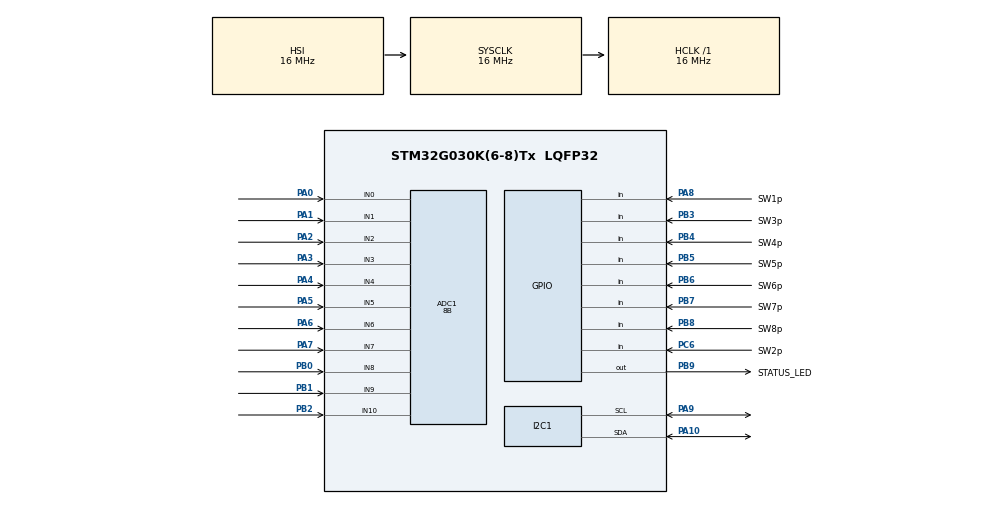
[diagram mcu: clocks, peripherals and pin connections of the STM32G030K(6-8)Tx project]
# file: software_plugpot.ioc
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ADC1.Channel-0\#ChannelRegularConversion=ADC_CHANNEL_0
ADC1.Channel-1\#ChannelRegularConversion=ADC_CHANNEL_1
ADC1.Channel-2\#ChannelRegularConversion=ADC_CHANNEL_2
ADC1.Channel-3\#ChannelRegularConversion=ADC_CHANNEL_3
ADC1.Channel-4\#ChannelRegularConversion=ADC_CHANNEL_4
ADC1.Channel-5\#ChannelRegularConversion=ADC_CHANNEL_5
ADC1.Channel-6\#ChannelRegularConversion=ADC_CHANNEL_6
ADC1.Channel-7\#ChannelRegularConversion=ADC_CHANNEL_7
ADC1.ClockPrescaler=ADC_CLOCK_ASYNC_DIV2
ADC1.ContinuousConvMode=ENABLE
ADC1.DMAContinuousRequests=ENABLE
ADC1.DiscontinuousConvMode=DISABLE
ADC1.NbrOfConversion=8
ADC1.NbrOfConversionFlag=1
ADC1.Rank-0\#ChannelRegularConversion=1
ADC1.Rank-1\#ChannelRegularConversion=2
ADC1.Rank-2\#ChannelRegularConversion=3
ADC1.Rank-3\#ChannelRegularConversion=4
ADC1.Rank-4\#ChannelRegularConversion=5
ADC1.Rank-5\#ChannelRegularConversion=6
ADC1.Rank-6\#ChannelRegularConversion=7
ADC1.Rank-7\#ChannelRegularConversion=8
ADC1.Resolution=ADC_RESOLUTION_8B
ADC1.SamplingTime-0\#ChannelRegularConversion=ADC_SAMPLINGTIME_COMMON_1
ADC1.SamplingTime-1\#ChannelRegularConversion=ADC_SAMPLINGTIME_COMMON_1
ADC1.SamplingTime-2\#ChannelRegularConversion=ADC_SAMPLINGTIME_COMMON_1
ADC1.SamplingTime-3\#ChannelRegularConversion=ADC_SAMPLINGTIME_COMMON_1
ADC1.SamplingTime-4\#ChannelRegularConversion=ADC_SAMPLINGTIME_COMMON_1
ADC1.SamplingTime-5\#ChannelRegularConversion=ADC_SAMPLINGTIME_COMMON_1
ADC1.SamplingTime-6\#ChannelRegularConversion=ADC_SAMPLINGTIME_COMMON_1
ADC1.SamplingTime-7\#ChannelRegularConversion=ADC_SAMPLINGTIME_COMMON_1
ADC1.SamplingTimeCommon1=ADC_SAMPLETIME_39CYCLES_5
ADC1.SelectedChannel=ADC_CHANNEL_0|ADC_CHANNEL_1|ADC_CHANNEL_2|ADC_CHANNEL_3|ADC_CHANNEL_4|ADC_CHANNEL_5|ADC_CHANNEL_6|ADC_CHANNEL_7|ADC_CHANNEL_8|ADC_CHANNEL_9|ADC_CHANNEL_10
ADC1.Sequencer=FULLY_CONFIGURABLE
ADC1.master=1
Dma.ADC1.0.Direction=DMA_PERIPH_TO_MEMORY
Dma.ADC1.0.EventEnable=DISABLE
Dma.ADC1.0.Instance=DMA1_Channel1
Dma.ADC1.0.MemDataAlignment=DMA_MDATAALIGN_BYTE
Dma.ADC1.0.MemInc=DMA_MINC_ENABLE
Dma.ADC1.0.Mode=DMA_CIRCULAR
Dma.ADC1.0.PeriphDataAlignment=DMA_PDATAALIGN_BYTE
Dma.ADC1.0.PeriphInc=DMA_PINC_DISABLE
Dma.ADC1.0.Polarity=HAL_DMAMUX_REQ_GEN_RISING
Dma.ADC1.0.Priority=DMA_PRIORITY_LOW
Dma.ADC1.0.RequestNumber=1
Dma.ADC1.0.SignalID=NONE
Dma.ADC1.0.SyncEnable=DISABLE
Dma.ADC1.0.SyncPolarity=HAL_DMAMUX_SYNC_NO_EVENT
Dma.ADC1.0.SyncRequestNumber=1
Dma.ADC1.0.SyncSignalID=NONE
Dma.Request0=ADC1
I2C1.NoStretchMode=I2C_NOSTRETCH_DISABLE
I2C1.OwnAddress=0x13
Mcu.Family=STM32G0
Mcu.Name=STM32G030K(6-8)Tx
Mcu.Package=LQFP32
NVIC.DMA1_Channel1_IRQn=true\:0\:0\:false\:false\:true\:false\:true\:true
PA0.Mode=IN0
PA0.Signal=ADC1_IN0
PA1.Mode=IN1
PA1.Signal=ADC1_IN1
PA10.Mode=I2C
PA10.Signal=I2C1_SDA
PA12\ [PA10].Signal=ADC1_IN16
PA13.Mode=Serial_Wire
PA13.Signal=SYS_SWDIO
PA14-BOOT0.Mode=Serial_Wire
PA14-BOOT0.Signal=SYS_SWCLK
PA2.Mode=IN2
PA2.Signal=ADC1_IN2
PA3.Mode=IN3
PA3.Signal=ADC1_IN3
PA4.Mode=IN4
PA4.Signal=ADC1_IN4
PA5.Mode=IN5
PA5.Signal=ADC1_IN5
PA6.Mode=IN6
PA6.Signal=ADC1_IN6
PA7.Mode=IN7
PA7.Signal=ADC1_IN7
PA8.GPIO_Label=SW1p
PA8.Signal=GPIO_Input
PA9.Mode=I2C
PA9.Signal=I2C1_SCL
PB0.Mode=IN8
PB0.Signal=ADC1_IN8
PB1.Mode=IN9
PB1.Signal=ADC1_IN9
PB2.Mode=IN10
PB2.Signal=ADC1_IN10
PB3.GPIO_Label=SW3p
PB3.Signal=GPIO_Input
PB4.GPIO_Label=SW4p
PB4.Signal=GPIO_Input
PB5.GPIO_Label=SW5p
PB5.Signal=GPIO_Input
PB6.GPIO_Label=SW6p
PB6.Signal=GPIO_Input
PB7.GPIO_Label=SW7p
PB7.Signal=GPIO_Input
PB8.GPIO_Label=SW8p
PB8.Signal=GPIO_Input
PB9.GPIO_Label=STATUS_LED
PB9.Signal=GPIO_Output
PC6.GPIO_Label=SW2p
PC6.Signal=GPIO_Input
ProjectManager.HeapSize=0x200
ProjectManager.StackSize=0x400
ProjectManager.TargetToolchain=EWARM V8.50
RCC.AHBFreq_Value=16000000
RCC.CortexFreq_Value=16000000
RCC.EXTERNAL_CLOCK_VALUE=12288000
RCC.HCLKFreq_Value=16000000
RCC.HSE_VALUE=8000000
RCC.HSI_VALUE=16000000
RCC.LSE_VALUE=32768
RCC.SYSCLKFreq_VALUE=16000000
RCC.VCOOutputFreq_Value=128000000
board=custom

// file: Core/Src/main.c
/* USER CODE BEGIN Header */
/**
  ******************************************************************************
  * @file           : main.c
  * @brief          : Main program body
  ******************************************************************************
  * @attention
  *
  * Copyright (c) 2023 STMicroelectronics.
  * All rights reserved.
  *
  * This software is licensed under terms that can be found in the LICENSE file
  * in the root directory of this software component.
  * If no LICENSE file comes with this software, it is provided AS-IS.
  *
  ******************************************************************************
  */
/* USER CODE END Header */
#include "main.h"

/* USER CODE BEGIN Includes */
#include "digitalsynth_plug_i2c.h"
#include <stdbool.h>
/* USER CODE END Includes */

/* USER CODE BEGIN PD */

//I2C defines
#define TXSIZE 13
#define RXSIZE  3
#define TOGGLEDELAY     1000    //1s -   num/ms/s
#define TOGGLEDELAY2     10      //10ms -   num/ms/s

#define ADC_BUF_LEN 2*8

/* USER CODE END PD */

ADC_HandleTypeDef hadc1;
DMA_HandleTypeDef hdma_adc1;

I2C_HandleTypeDef hi2c1;

/* USER CODE BEGIN PV */

//I2C global variables
uint8_t TxData[TXSIZE] = {1, 0, 1, 0, 1, 0, 1, 0, 1, 0, 1, 0, 1};
uint8_t txcount = 0;
uI2CPlugPotControls sCont;
uint32_t u32LastToggleTick = 0;
HAL_StatusTypeDef status;

//adc
uint8_t arru8adc_buf[ADC_BUF_LEN];
uint8_t * pu8adc_bufcurr;

//SW
uint32_t u32SWReadTick;
GPIO_TypeDef* arrSWGPIOPort[8] =
{SW1p_GPIO_Port, SW2p_GPIO_Port, SW3p_GPIO_Port, SW4p_GPIO_Port, SW5p_GPIO_Port, SW6p_GPIO_Port, SW7p_GPIO_Port, SW8p_GPIO_Port};
uint16_t arrSWPin[8] =
{SW1p_Pin, SW2p_Pin, SW3p_Pin, SW4p_Pin, SW5p_Pin, SW6p_Pin, SW7p_Pin, SW8p_Pin};

/* USER CODE END PV */

void SystemClock_Config(void);
static void MX_GPIO_Init(void);
static void MX_DMA_Init(void);
static void MX_ADC1_Init(void);
static void MX_I2C1_Init(void);
/* USER CODE BEGIN PFP */
void i2c_reset();
/* USER CODE END PFP */

int main(void)
{

  /* MCU Configuration--------------------------------------------------------*/

  /* Reset of all peripherals, Initializes the Flash interface and the Systick. */
  HAL_Init();

  /* Configure the system clock */
  SystemClock_Config();

  /* Initialize all configured peripherals */
  MX_GPIO_Init();
  MX_DMA_Init();
  MX_ADC1_Init();
  MX_I2C1_Init();

  /* Infinite loop */
  /* USER CODE BEGIN WHILE */

  //JUST FOR TESTING
  for(int i = 0; i < 13; i++){
    sCont.au8I2CPlugPotByteAccess[i] = TxData[i];
  }

  //adc
  HAL_ADC_Start_DMA(&hadc1, (uint32_t*)arru8adc_buf, ADC_BUF_LEN);

  //HAL_TIM_Base_Start_IT(&htim14);
  u32LastToggleTick = HAL_GetTick();
  u32SWReadTick = HAL_GetTick();
  uint8_t u8ErrorFlag = 0;
  uint32_t u32ErrorTick = 0;
  while (1)
  {
    /* USER CODE END WHILE */

    /* USER CODE BEGIN 3 */

    //I2C communication
    status = HAL_I2C_Slave_Transmit(&hi2c1, sCont.au8I2CPlugPotByteAccess, TXSIZE,30);

    //if the line is busy, reset
    if( (status != HAL_OK) & (u8ErrorFlag==0) ){
      u8ErrorFlag = 1;
      u32ErrorTick = HAL_GetTick();
    }
    if( ( status != HAL_OK ) & ( HAL_GetTick() > (u32ErrorTick+250) ) & (u8ErrorFlag==1) ){
      i2c_reset(&hi2c1);
      u8ErrorFlag = 0;

    }

    //toggle status led
    while ((HAL_GetTick() - u32LastToggleTick) > TOGGLEDELAY){
      HAL_GPIO_TogglePin(GPIOB, GPIO_PIN_9);
      u32LastToggleTick = HAL_GetTick();
    }

    sCont.sI2CPlugPotControl.u1SW1 = (HAL_GPIO_ReadPin(arrSWGPIOPort[0], arrSWPin[0]) == GPIO_PIN_SET);

    //SW read
    while ((HAL_GetTick() - u32SWReadTick) > TOGGLEDELAY2){
      sCont.sI2CPlugPotControl.u1SW1 = (HAL_GPIO_ReadPin(arrSWGPIOPort[0], arrSWPin[0]) == GPIO_PIN_SET);
      sCont.sI2CPlugPotControl.u1SW2 = (HAL_GPIO_ReadPin(arrSWGPIOPort[1], arrSWPin[1]) == GPIO_PIN_SET);
      sCont.sI2CPlugPotControl.u1SW3 = (HAL_GPIO_ReadPin(arrSWGPIOPort[2], arrSWPin[2]) == GPIO_PIN_SET);
      sCont.sI2CPlugPotControl.u1SW4 = (HAL_GPIO_ReadPin(arrSWGPIOPort[3], arrSWPin[3]) == GPIO_PIN_SET);
      sCont.sI2CPlugPotControl.u1SW5 = (HAL_GPIO_ReadPin(arrSWGPIOPort[4], arrSWPin[4]) == GPIO_PIN_SET);
      sCont.sI2CPlugPotControl.u1SW6 = (HAL_GPIO_ReadPin(arrSWGPIOPort[5], arrSWPin[5]) == GPIO_PIN_SET);
      sCont.sI2CPlugPotControl.u1SW7 = (HAL_GPIO_ReadPin(arrSWGPIOPort[6], arrSWPin[6]) == GPIO_PIN_SET);
      sCont.sI2CPlugPotControl.u1SW8 = (HAL_GPIO_ReadPin(arrSWGPIOPort[7], arrSWPin[7]) == GPIO_PIN_SET);
      u32SWReadTick = HAL_GetTick();
    }
  }
  /* USER CODE END 3 */
}

void SystemClock_Config(void)
{
  RCC_OscInitTypeDef RCC_OscInitStruct = {0};
  RCC_ClkInitTypeDef RCC_ClkInitStruct = {0};

  /** Configure the main internal regulator output voltage
  */
  HAL_PWREx_ControlVoltageScaling(PWR_REGULATOR_VOLTAGE_SCALE1);

  /** Initializes the RCC Oscillators according to the specified parameters
  * in the RCC_OscInitTypeDef structure.
  */
  RCC_OscInitStruct.OscillatorType = RCC_OSCILLATORTYPE_HSI;
  RCC_OscInitStruct.HSIState = RCC_HSI_ON;
  RCC_OscInitStruct.HSIDiv = RCC_HSI_DIV1;
  RCC_OscInitStruct.HSICalibrationValue = RCC_HSICALIBRATION_DEFAULT;
  RCC_OscInitStruct.PLL.PLLState = RCC_PLL_NONE;
  if (HAL_RCC_OscConfig(&RCC_OscInitStruct) != HAL_OK)
  {
    Error_Handler();
  }

  /** Initializes the CPU, AHB and APB buses clocks
  */
  RCC_ClkInitStruct.ClockType = RCC_CLOCKTYPE_HCLK|RCC_CLOCKTYPE_SYSCLK
                              |RCC_CLOCKTYPE_PCLK1;
  RCC_ClkInitStruct.SYSCLKSource = RCC_SYSCLKSOURCE_HSI;
  RCC_ClkInitStruct.AHBCLKDivider = RCC_SYSCLK_DIV1;
  RCC_ClkInitStruct.APB1CLKDivider = RCC_HCLK_DIV1;

  if (HAL_RCC_ClockConfig(&RCC_ClkInitStruct, FLASH_LATENCY_0) != HAL_OK)
  {
    Error_Handler();
  }
}

static void MX_ADC1_Init(void)
{

  ADC_ChannelConfTypeDef sConfig = {0};

  /** Configure the global features of the ADC (Clock, Resolution, Data Alignment and number of conversion)
  */
  hadc1.Instance = ADC1;
  hadc1.Init.ClockPrescaler = ADC_CLOCK_ASYNC_DIV2;
  hadc1.Init.Resolution = ADC_RESOLUTION_8B;
  hadc1.Init.DataAlign = ADC_DATAALIGN_RIGHT;
  hadc1.Init.ScanConvMode = ADC_SCAN_ENABLE;
  hadc1.Init.EOCSelection = ADC_EOC_SINGLE_CONV;
  hadc1.Init.LowPowerAutoWait = DISABLE;
  hadc1.Init.LowPowerAutoPowerOff = DISABLE;
  hadc1.Init.ContinuousConvMode = ENABLE;
  hadc1.Init.NbrOfConversion = 8;
  hadc1.Init.DiscontinuousConvMode = DISABLE;
  hadc1.Init.ExternalTrigConv = ADC_SOFTWARE_START;
  hadc1.Init.ExternalTrigConvEdge = ADC_EXTERNALTRIGCONVEDGE_NONE;
  hadc1.Init.DMAContinuousRequests = ENABLE;
  hadc1.Init.Overrun = ADC_OVR_DATA_PRESERVED;
  hadc1.Init.SamplingTimeCommon1 = ADC_SAMPLETIME_39CYCLES_5;
  hadc1.Init.SamplingTimeCommon2 = ADC_SAMPLETIME_1CYCLE_5;
  hadc1.Init.OversamplingMode = DISABLE;
  hadc1.Init.TriggerFrequencyMode = ADC_TRIGGER_FREQ_HIGH;
  if (HAL_ADC_Init(&hadc1) != HAL_OK)
  {
    Error_Handler();
  }

  /** Configure Regular Channel
  */
  sConfig.Channel = ADC_CHANNEL_0;
  sConfig.Rank = ADC_REGULAR_RANK_1;
  sConfig.SamplingTime = ADC_SAMPLINGTIME_COMMON_1;
  if (HAL_ADC_ConfigChannel(&hadc1, &sConfig) != HAL_OK)
  {
    Error_Handler();
  }

  /** Configure Regular Channel
  */
  sConfig.Channel = ADC_CHANNEL_1;
  sConfig.Rank = ADC_REGULAR_RANK_2;
  if (HAL_ADC_ConfigChannel(&hadc1, &sConfig) != HAL_OK)
  {
    Error_Handler();
  }

  /** Configure Regular Channel
  */
  sConfig.Channel = ADC_CHANNEL_2;
  sConfig.Rank = ADC_REGULAR_RANK_3;
  if (HAL_ADC_ConfigChannel(&hadc1, &sConfig) != HAL_OK)
  {
    Error_Handler();
  }

  /** Configure Regular Channel
  */
  sConfig.Channel = ADC_CHANNEL_3;
  sConfig.Rank = ADC_REGULAR_RANK_4;
  if (HAL_ADC_ConfigChannel(&hadc1, &sConfig) != HAL_OK)
  {
    Error_Handler();
  }

  /** Configure Regular Channel
  */
  sConfig.Channel = ADC_CHANNEL_4;
  sConfig.Rank = ADC_REGULAR_RANK_5;
  if (HAL_ADC_ConfigChannel(&hadc1, &sConfig) != HAL_OK)
  {
    Error_Handler();
  }

  /** Configure Regular Channel
  */
  sConfig.Channel = ADC_CHANNEL_5;
  sConfig.Rank = ADC_REGULAR_RANK_6;
  if (HAL_ADC_ConfigChannel(&hadc1, &sConfig) != HAL_OK)
  {
    Error_Handler();
  }

  /** Configure Regular Channel
  */
  sConfig.Channel = ADC_CHANNEL_6;
  sConfig.Rank = ADC_REGULAR_RANK_7;
  if (HAL_ADC_ConfigChannel(&hadc1, &sConfig) != HAL_OK)
  {
    Error_Handler();
  }

  /** Configure Regular Channel
  */
  sConfig.Channel = ADC_CHANNEL_7;
  sConfig.Rank = ADC_REGULAR_RANK_8;
  if (HAL_ADC_ConfigChannel(&hadc1, &sConfig) != HAL_OK)
  {
    Error_Handler();
  }

}

static void MX_I2C1_Init(void)
{

  hi2c1.Instance = I2C1;
  hi2c1.Init.Timing = 0x00303D5B;
  hi2c1.Init.OwnAddress1 = 38;
  hi2c1.Init.AddressingMode = I2C_ADDRESSINGMODE_7BIT;
  hi2c1.Init.DualAddressMode = I2C_DUALADDRESS_DISABLE;
  hi2c1.Init.OwnAddress2 = 0;
  hi2c1.Init.OwnAddress2Masks = I2C_OA2_NOMASK;
  hi2c1.Init.GeneralCallMode = I2C_GENERALCALL_DISABLE;
  hi2c1.Init.NoStretchMode = I2C_NOSTRETCH_DISABLE;
  if (HAL_I2C_Init(&hi2c1) != HAL_OK)
  {
    Error_Handler();
  }

  /** Configure Analogue filter
  */
  if (HAL_I2CEx_ConfigAnalogFilter(&hi2c1, I2C_ANALOGFILTER_ENABLE) != HAL_OK)
  {
    Error_Handler();
  }

  /** Configure Digital filter
  */
  if (HAL_I2CEx_ConfigDigitalFilter(&hi2c1, 0) != HAL_OK)
  {
    Error_Handler();
  }

}

static void MX_DMA_Init(void)
{

  /* DMA controller clock enable */
  __HAL_RCC_DMA1_CLK_ENABLE();

  /* DMA interrupt init */
  /* DMA1_Channel1_IRQn interrupt configuration */
  HAL_NVIC_SetPriority(DMA1_Channel1_IRQn, 0, 0);
  HAL_NVIC_EnableIRQ(DMA1_Channel1_IRQn);

}

static void MX_GPIO_Init(void)
{
  GPIO_InitTypeDef GPIO_InitStruct = {0};

  /* GPIO Ports Clock Enable */
  __HAL_RCC_GPIOB_CLK_ENABLE();
  __HAL_RCC_GPIOA_CLK_ENABLE();
  __HAL_RCC_GPIOC_CLK_ENABLE();

  /*Configure GPIO pin Output Level */
  HAL_GPIO_WritePin(STATUS_LED_GPIO_Port, STATUS_LED_Pin, GPIO_PIN_RESET);

  /*Configure GPIO pin : STATUS_LED_Pin */
  GPIO_InitStruct.Pin = STATUS_LED_Pin;
  GPIO_InitStruct.Mode = GPIO_MODE_OUTPUT_PP;
  GPIO_InitStruct.Pull = GPIO_NOPULL;
  GPIO_InitStruct.Speed = GPIO_SPEED_FREQ_LOW;
  HAL_GPIO_Init(STATUS_LED_GPIO_Port, &GPIO_InitStruct);

  /*Configure GPIO pin : SW1p_Pin */
  GPIO_InitStruct.Pin = SW1p_Pin;
  GPIO_InitStruct.Mode = GPIO_MODE_INPUT;
  GPIO_InitStruct.Pull = GPIO_NOPULL;
  HAL_GPIO_Init(SW1p_GPIO_Port, &GPIO_InitStruct);

  /*Configure GPIO pin : SW2p_Pin */
  GPIO_InitStruct.Pin = SW2p_Pin;
  GPIO_InitStruct.Mode = GPIO_MODE_INPUT;
  GPIO_InitStruct.Pull = GPIO_NOPULL;
  HAL_GPIO_Init(SW2p_GPIO_Port, &GPIO_InitStruct);

  /*Configure GPIO pins : SW3p_Pin SW4p_Pin SW5p_Pin SW6p_Pin
                           SW7p_Pin SW8p_Pin */
  GPIO_InitStruct.Pin = SW3p_Pin|SW4p_Pin|SW5p_Pin|SW6p_Pin
                          |SW7p_Pin|SW8p_Pin;
  GPIO_InitStruct.Mode = GPIO_MODE_INPUT;
  GPIO_InitStruct.Pull = GPIO_NOPULL;
  HAL_GPIO_Init(GPIOB, &GPIO_InitStruct);

}

/* USER CODE BEGIN 4 */
void i2c_reset(I2C_HandleTypeDef *hi2c){
  SET_BIT(hi2c->Instance->CR1, I2C_CR1_SWRST);
  HAL_Delay( 10 );
  CLEAR_BIT(hi2c->Instance->CR1, I2C_CR1_SWRST);
  MX_I2C1_Init();
}

//adc double buffering
void HAL_ADC_ConvHalfCpltCallback(ADC_HandleTypeDef* hadc){
  sCont.sI2CPlugPotControl.u8Plugpot[0] = arru8adc_buf[0];
  sCont.sI2CPlugPotControl.u8Plugpot[1] = arru8adc_buf[1];
  sCont.sI2CPlugPotControl.u8Plugpot[2] = arru8adc_buf[2];
  sCont.sI2CPlugPotControl.u8Plugpot[3] = arru8adc_buf[3];
  sCont.sI2CPlugPotControl.u8Plugpot[4] = arru8adc_buf[4];
  sCont.sI2CPlugPotControl.u8Plugpot[5] = arru8adc_buf[5];
  sCont.sI2CPlugPotControl.u8Plugpot[6] = arru8adc_buf[6];
  sCont.sI2CPlugPotControl.u8Plugpot[7] = arru8adc_buf[7];
}

void HAL_ADC_ConvCpltCallback(ADC_HandleTypeDef* hadc){
  sCont.sI2CPlugPotControl.u8Plugpot[0] = arru8adc_buf[8];
  sCont.sI2CPlugPotControl.u8Plugpot[1] = arru8adc_buf[9];
  sCont.sI2CPlugPotControl.u8Plugpot[2] = arru8adc_buf[10];
  sCont.sI2CPlugPotControl.u8Plugpot[3] = arru8adc_buf[11];
  sCont.sI2CPlugPotControl.u8Plugpot[4] = arru8adc_buf[12];
  sCont.sI2CPlugPotControl.u8Plugpot[5] = arru8adc_buf[13];
  sCont.sI2CPlugPotControl.u8Plugpot[6] = arru8adc_buf[14];
  sCont.sI2CPlugPotControl.u8Plugpot[7] = arru8adc_buf[15];
}

/* USER CODE END 4 */

void Error_Handler(void)
{
  __disable_irq();
  while (1)
  {
  }
}
